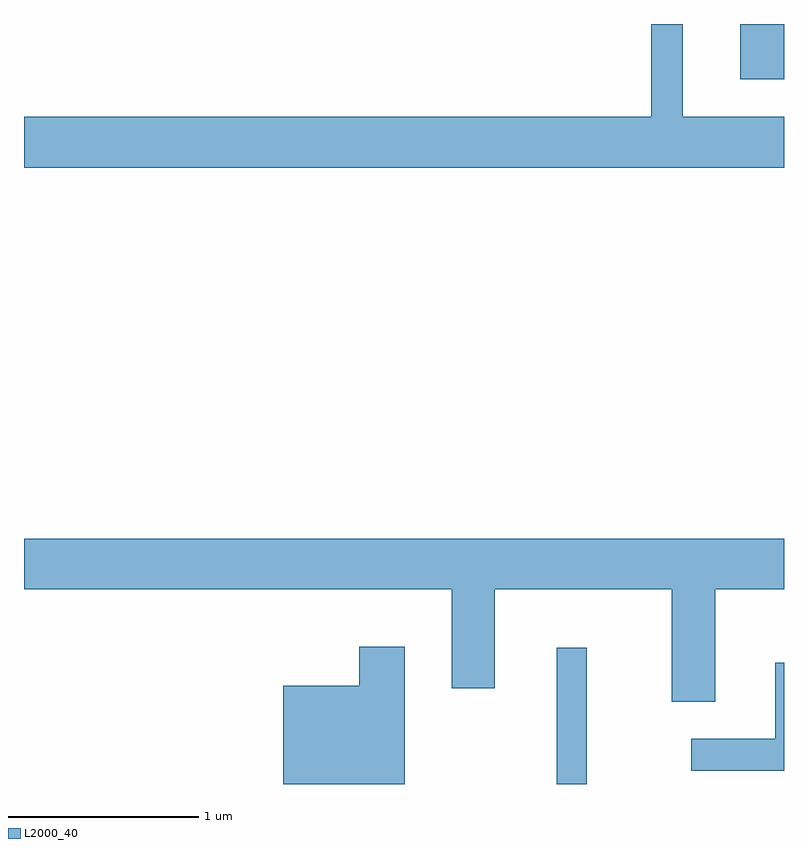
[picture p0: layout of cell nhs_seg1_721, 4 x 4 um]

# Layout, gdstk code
import gdstk
lib = gdstk.Library(unit=1e-6, precision=1e-09)
def R(c, l, rs):  # rectangles x0, y0, x1, y1
    for r in rs: c.add(gdstk.rectangle(r[:2], r[2:], *l))
def P(c, l, *ps):  # polygons
    for p in ps: c.add(gdstk.Polygon(p, *l))
L2000_40 = (2000, 40)

nhs_seg1_721 = lib.new_cell('nhs_seg1_721')
R(nhs_seg1_721, L2000_40, [(210.416,849.712,210.574,850.428), (211.381,853.421,211.611,853.712)])
P(nhs_seg1_721, L2000_40, [(211.611,853.224),(211.079,853.224),(211.079,853.712),(210.911,853.712),(210.911,853.224),(207.611,853.224),(207.611,852.956),(211.611,852.956)],
  [(211.249,850.736),(211.611,850.736),(211.611,851.004),(207.611,851.004),(207.611,850.736),(209.861,850.736),(209.861,850.216),(210.089,850.216),(210.089,850.736),(211.021,850.736),(211.021,850.146),(211.249,850.146)],
  [(209.614,850.434),(209.376,850.434),(209.376,850.229),(208.976,850.229),(208.976,849.712),(209.614,849.712)],
  [(211.611,850.349),(211.566,850.349),(211.566,849.949),(211.123,849.949),(211.123,849.781),(211.611,849.781)])

lib.write_gds('nhs_seg1_721.gds')
